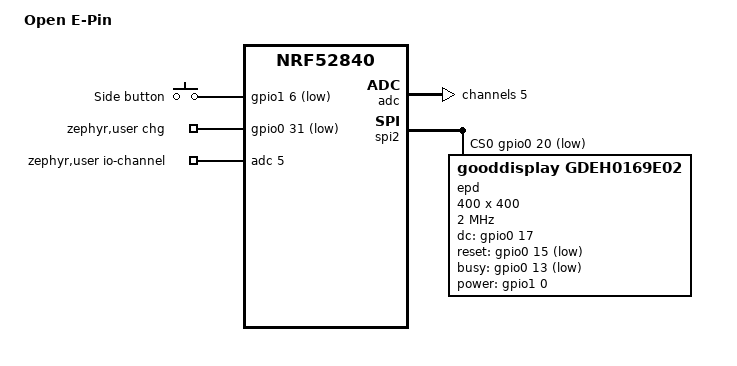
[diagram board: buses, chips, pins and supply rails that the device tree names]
/* SPDX-License-Identifier: GPL-3.0-or-later */
/*
 * Open E-Pin board v0.1: Raytac MDBT50Q-1MV2 (nRF52840), GDEH0169E02 round
 * e-paper on SPI, side button, LiPo with divider and charger status line.
 * Pin map: hardware/README.md and hardware/scripts/design.py.
 */

/dts-v1/;
#include <nordic/nrf52840_qiaa.dtsi>
#include <zephyr/dt-bindings/input/input-event-codes.h>
#include <zephyr/dt-bindings/adc/nrf-saadc.h>
#include <zephyr/dt-bindings/regulator/nrf5x.h>
#include "open_e_pin-pinctrl.dtsi"

/ {
	model = "Open E-Pin";
	compatible = "openepin,open-e-pin";

	chosen {
		zephyr,sram = &sram0;
		zephyr,flash = &flash0;
		zephyr,code-partition = &code_partition;
	};

	aliases {
		sw0 = &button0;
	};

	buttons {
		compatible = "gpio-keys";
		/* SW1 side button to GND on P1.06, internal pull-up. */
		button0: button_0 {
			gpios = <&gpio1 6 (GPIO_PULL_UP | GPIO_ACTIVE_LOW)>;
			label = "Side button";
			zephyr,code = <INPUT_KEY_0>;
		};
	};

	zephyr,user {
		/* VBAT_SYS through a 10M/10M divider on P0.29 (AIN5). */
		io-channels = <&adc 5>;
		/* BQ25101 ~CHG through 100k on P0.31: low while charging. */
		chg-gpios = <&gpio0 31 (GPIO_ACTIVE_LOW | GPIO_PULL_UP)>;
	};
};

&reg1 {
	/* The module carries the DC/DC inductors. */
	regulator-initial-mode = <NRF5X_REG_MODE_DCDC>;
};

&uicr {
	/* P0.18 is the reset pin, on the RESET test pad. */
	gpio-as-nreset;
};

&gpiote {
	status = "okay";
};

&gpio0 {
	status = "okay";
};

&gpio1 {
	status = "okay";
};

&adc {
	#address-cells = <1>;
	#size-cells = <0>;
	status = "okay";

	channel@5 {
		reg = <5>;
		zephyr,gain = "ADC_GAIN_1_6";
		zephyr,reference = "ADC_REF_INTERNAL";
		/* 10M source impedance: longest acquisition time, 100 nF hold cap. */
		zephyr,acquisition-time = <ADC_ACQ_TIME(ADC_ACQ_TIME_MICROSECONDS, 40)>;
		zephyr,input-positive = <NRF_SAADC_AIN5>;
		zephyr,resolution = <12>;
		zephyr,oversampling = <4>;
	};
};

&spi2 {
	compatible = "nordic,nrf-spim";
	status = "okay";
	pinctrl-0 = <&epd_spi_default>;
	pinctrl-1 = <&epd_spi_sleep>;
	pinctrl-names = "default", "sleep";
	cs-gpios = <&gpio0 20 GPIO_ACTIVE_LOW>;

	epd: epd@0 {
		compatible = "gooddisplay,gdeh0169e02";
		reg = <0>;
		spi-max-frequency = <2000000>;	/* as the vendor sample */
		dc-gpios = <&gpio0 17 GPIO_ACTIVE_HIGH>;	/* high = data */
		reset-gpios = <&gpio0 15 GPIO_ACTIVE_LOW>;
		/* BUSY low = busy: spec pin table and the vendor sample agree (note 6-4 says the opposite). */
		busy-gpios = <&gpio0 13 GPIO_ACTIVE_LOW>;
		power-gpios = <&gpio1 0 GPIO_ACTIVE_HIGH>;	/* TPS22916C enable */
		width = <400>;
		height = <400>;
	};
};

&flash0 {
	partitions {
		compatible = "fixed-partitions";
		#address-cells = <1>;
		#size-cells = <1>;

		code_partition: partition@0 {
			label = "code";
			reg = <0x00000000 0x000f8000>;
		};

		storage_partition: partition@f8000 {
			label = "storage";
			reg = <0x000f8000 0x00008000>;
		};
	};
};
